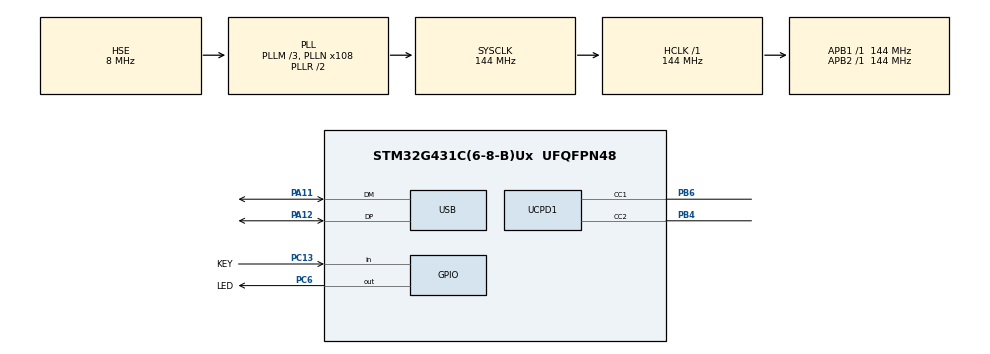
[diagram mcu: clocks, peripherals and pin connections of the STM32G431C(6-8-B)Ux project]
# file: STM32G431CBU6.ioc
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Dma.Request0=UCPD1_RX
Dma.Request1=UCPD1_TX
Dma.UCPD1_RX.0.Direction=DMA_PERIPH_TO_MEMORY
Dma.UCPD1_RX.0.EventEnable=DISABLE
Dma.UCPD1_RX.0.Instance=DMA1_Channel1
Dma.UCPD1_RX.0.MemDataAlignment=DMA_MDATAALIGN_BYTE
Dma.UCPD1_RX.0.MemInc=DMA_MINC_ENABLE
Dma.UCPD1_RX.0.Mode=DMA_NORMAL
Dma.UCPD1_RX.0.PeriphDataAlignment=DMA_PDATAALIGN_BYTE
Dma.UCPD1_RX.0.PeriphInc=DMA_PINC_DISABLE
Dma.UCPD1_RX.0.Polarity=HAL_DMAMUX_REQ_GEN_RISING
Dma.UCPD1_RX.0.Priority=DMA_PRIORITY_LOW
Dma.UCPD1_RX.0.RequestNumber=1
Dma.UCPD1_RX.0.SignalID=NONE
Dma.UCPD1_RX.0.SyncEnable=DISABLE
Dma.UCPD1_RX.0.SyncPolarity=HAL_DMAMUX_SYNC_NO_EVENT
Dma.UCPD1_RX.0.SyncRequestNumber=1
Dma.UCPD1_RX.0.SyncSignalID=NONE
Dma.UCPD1_TX.1.Direction=DMA_MEMORY_TO_PERIPH
Dma.UCPD1_TX.1.EventEnable=DISABLE
Dma.UCPD1_TX.1.Instance=DMA1_Channel2
Dma.UCPD1_TX.1.MemDataAlignment=DMA_MDATAALIGN_BYTE
Dma.UCPD1_TX.1.MemInc=DMA_MINC_ENABLE
Dma.UCPD1_TX.1.Mode=DMA_NORMAL
Dma.UCPD1_TX.1.PeriphDataAlignment=DMA_PDATAALIGN_BYTE
Dma.UCPD1_TX.1.PeriphInc=DMA_PINC_DISABLE
Dma.UCPD1_TX.1.Polarity=HAL_DMAMUX_REQ_GEN_RISING
Dma.UCPD1_TX.1.Priority=DMA_PRIORITY_LOW
Dma.UCPD1_TX.1.RequestNumber=1
Dma.UCPD1_TX.1.SignalID=NONE
Dma.UCPD1_TX.1.SyncEnable=DISABLE
Dma.UCPD1_TX.1.SyncPolarity=HAL_DMAMUX_SYNC_NO_EVENT
Dma.UCPD1_TX.1.SyncRequestNumber=1
Dma.UCPD1_TX.1.SyncSignalID=NONE
Mcu.Family=STM32G4
Mcu.Name=STM32G431C(6-8-B)Ux
Mcu.Package=UFQFPN48
NVIC.DMA1_Channel1_IRQn=true\:0\:0\:false\:false\:true\:false\:true\:true
NVIC.DMA1_Channel2_IRQn=true\:0\:0\:false\:false\:true\:false\:true\:true
NVIC.PriorityGroup=NVIC_PRIORITYGROUP_4
NVIC.UCPD1_IRQn=true\:0\:0\:false\:false\:true\:true\:false\:true
NVIC.USB_LP_IRQn=true\:0\:0\:false\:false\:true\:false\:true\:true
PA11.Mode=Device
PA11.Signal=USB_DM
PA12.Mode=Device
PA12.Signal=USB_DP
PA13.Mode=Serial_Wire
PA13.Signal=SYS_JTMS-SWDIO
PA14.Mode=Serial_Wire
PA14.Signal=SYS_JTCK-SWCLK
PB4.Mode=Sink_AllSignals
PB4.Signal=UCPD1_CC2
PB6.Mode=Sink_AllSignals
PB6.Signal=UCPD1_CC1
PC13.GPIO_Label=KEY
PC13.GPIO_PuPd=GPIO_PULLUP
PC13.Signal=GPIO_Input
PC6.GPIO_Label=LED
PC6.GPIO_PuPd=GPIO_NOPULL
PC6.Signal=GPIO_Output
PF0-OSC_IN.Mode=HSE-External-Oscillator
PF0-OSC_IN.Signal=RCC_OSC_IN
PF1-OSC_OUT.Mode=HSE-External-Oscillator
PF1-OSC_OUT.Signal=RCC_OSC_OUT
ProjectManager.HeapSize=0x800
ProjectManager.StackSize=0x1600
ProjectManager.TargetToolchain=EWARM V8.50
RCC.ADC12Freq_Value=144000000
RCC.AHBFreq_Value=144000000
RCC.APB1Freq_Value=144000000
RCC.APB1TimFreq_Value=144000000
RCC.APB2Freq_Value=144000000
RCC.APB2TimFreq_Value=144000000
RCC.CortexFreq_Value=144000000
RCC.EXTERNAL_CLOCK_VALUE=12288000
RCC.HCLKFreq_Value=144000000
RCC.HSE_VALUE=8000000
RCC.HSI48_VALUE=48000000
RCC.HSI_VALUE=16000000
RCC.PLLM=RCC_PLLM_DIV3
RCC.PLLN=108
RCC.PLLQ=RCC_PLLQ_DIV6
RCC.PLLSourceVirtual=RCC_PLLSOURCE_HSE
RCC.SYSCLKFreq_VALUE=144000000
RCC.SYSCLKSource=RCC_SYSCLKSOURCE_PLLCLK
RCC.USBFreq_Value=48000000
RCC.VCOOutputFreq_Value=288000000
USB_DEVICE.CLASS_NAME_FS=CDC
USB_DEVICE.VirtualMode=Cdc
USB_DEVICE.VirtualModeFS=Cdc_FS
VP_SYS_VS_DBSignals.Mode=DisableDeadBatterySignals
VP_USBPD_VS_PD3FULL.Mode=PD3_Full_Stack
VP_USBPD_VS_USBPD1.Mode=USBPD_P0
VP_USBPD_VS_usbpd_tim8.Mode=TIM8
VP_USB_DEVICE_VS_USB_DEVICE_CDC_FS.Mode=CDC_FS
board=custom

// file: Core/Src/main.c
/* USER CODE BEGIN Header */
/**
  ******************************************************************************
  * @file           : main.c
  * @brief          : Main program body
  ******************************************************************************
  * @attention
  *
  * Copyright (c) 2023 STMicroelectronics.
  * All rights reserved.
  *
  * This software is licensed under terms that can be found in the LICENSE file
  * in the root directory of this software component.
  * If no LICENSE file comes with this software, it is provided AS-IS.
  *
  ******************************************************************************
  */
/* USER CODE END Header */
#include "main.h"
#include "usbpd.h"
#include "usb_device.h"

/* USER CODE BEGIN PD */
#define BUF_LEN		(8192 / 32)
/* USER CODE END PD */

/* USER CODE BEGIN PV */
uint8_t buf[BUF_LEN];
/* USER CODE END PV */

void SystemClock_Config(void);
static void MX_GPIO_Init(void);
static void MX_DMA_Init(void);
static void MX_UCPD1_Init(void);

int main(void)
{

  /* MCU Configuration--------------------------------------------------------*/

  /* Reset of all peripherals, Initializes the Flash interface and the Systick. */
  HAL_Init();

  /* Configure the system clock */
  SystemClock_Config();

  /* Initialize all configured peripherals */
  MX_GPIO_Init();
  MX_DMA_Init();
  MX_USB_Device_Init();
  MX_UCPD1_Init();
  /* USER CODE BEGIN 2 */
	for(uint32_t i = 0; i < BUF_LEN; i++)
		buf[i] = 's';
	buf[BUF_LEN - 2] = '\r';
	buf[BUF_LEN - 1] = '\n';
	HAL_Delay(30000);
	LED_ON();
	uint32_t tickstart = HAL_GetTick();
  /* USER CODE END 2 */

  /* USBPD initialisation ---------------------------------*/
  //MX_USBPD_Init();

  /* Infinite loop */
  while (1)
  {
    //USBPD_DPM_Run();

    /* USER CODE BEGIN 3 */
	  CDC_Transmit_FS(buf, BUF_LEN); // отправляем в USB полученные данные
	  //HAL_Delay(1000);

	  if((HAL_GetTick() - tickstart) > 60000)
	  {
		  LED_OFF();
		  while(1);
	  }
  }
  /* USER CODE END 3 */
}

void SystemClock_Config(void)
{
  RCC_OscInitTypeDef RCC_OscInitStruct = {0};
  RCC_ClkInitTypeDef RCC_ClkInitStruct = {0};

  /** Configure the main internal regulator output voltage
  */
  HAL_PWREx_ControlVoltageScaling(PWR_REGULATOR_VOLTAGE_SCALE1);

  /** Initializes the RCC Oscillators according to the specified parameters
  * in the RCC_OscInitTypeDef structure.
  */
  RCC_OscInitStruct.OscillatorType = RCC_OSCILLATORTYPE_HSI|RCC_OSCILLATORTYPE_HSE;
  RCC_OscInitStruct.HSEState = RCC_HSE_ON;
  RCC_OscInitStruct.HSIState = RCC_HSI_ON;
  RCC_OscInitStruct.HSICalibrationValue = RCC_HSICALIBRATION_DEFAULT;
  RCC_OscInitStruct.PLL.PLLState = RCC_PLL_ON;
  RCC_OscInitStruct.PLL.PLLSource = RCC_PLLSOURCE_HSE;
  RCC_OscInitStruct.PLL.PLLM = RCC_PLLM_DIV3;
  RCC_OscInitStruct.PLL.PLLN = 108;
  RCC_OscInitStruct.PLL.PLLP = RCC_PLLP_DIV2;
  RCC_OscInitStruct.PLL.PLLQ = RCC_PLLQ_DIV6;
  RCC_OscInitStruct.PLL.PLLR = RCC_PLLR_DIV2;
  if (HAL_RCC_OscConfig(&RCC_OscInitStruct) != HAL_OK)
  {
    Error_Handler();
  }

  /** Initializes the CPU, AHB and APB buses clocks
  */
  RCC_ClkInitStruct.ClockType = RCC_CLOCKTYPE_HCLK|RCC_CLOCKTYPE_SYSCLK
                              |RCC_CLOCKTYPE_PCLK1|RCC_CLOCKTYPE_PCLK2;
  RCC_ClkInitStruct.SYSCLKSource = RCC_SYSCLKSOURCE_PLLCLK;
  RCC_ClkInitStruct.AHBCLKDivider = RCC_SYSCLK_DIV1;
  RCC_ClkInitStruct.APB1CLKDivider = RCC_HCLK_DIV1;
  RCC_ClkInitStruct.APB2CLKDivider = RCC_HCLK_DIV1;

  if (HAL_RCC_ClockConfig(&RCC_ClkInitStruct, FLASH_LATENCY_4) != HAL_OK)
  {
    Error_Handler();
  }
}

static void MX_UCPD1_Init(void)
{

  LL_GPIO_InitTypeDef GPIO_InitStruct = {0};

  /* Peripheral clock enable */
  LL_APB1_GRP2_EnableClock(LL_APB1_GRP2_PERIPH_UCPD1);

  LL_AHB2_GRP1_EnableClock(LL_AHB2_GRP1_PERIPH_GPIOB);
  /**UCPD1 GPIO Configuration
  PB4   ------> UCPD1_CC2
  PB6   ------> UCPD1_CC1
  */
  GPIO_InitStruct.Pin = LL_GPIO_PIN_4;
  GPIO_InitStruct.Mode = LL_GPIO_MODE_ANALOG;
  GPIO_InitStruct.Pull = LL_GPIO_PULL_NO;
  LL_GPIO_Init(GPIOB, &GPIO_InitStruct);

  GPIO_InitStruct.Pin = LL_GPIO_PIN_6;
  GPIO_InitStruct.Mode = LL_GPIO_MODE_ANALOG;
  GPIO_InitStruct.Pull = LL_GPIO_PULL_NO;
  LL_GPIO_Init(GPIOB, &GPIO_InitStruct);

  /* UCPD1 DMA Init */

  /* UCPD1_RX Init */
  LL_DMA_SetPeriphRequest(DMA1, LL_DMA_CHANNEL_1, LL_DMAMUX_REQ_UCPD1_RX);

  LL_DMA_SetDataTransferDirection(DMA1, LL_DMA_CHANNEL_1, LL_DMA_DIRECTION_PERIPH_TO_MEMORY);

  LL_DMA_SetChannelPriorityLevel(DMA1, LL_DMA_CHANNEL_1, LL_DMA_PRIORITY_LOW);

  LL_DMA_SetMode(DMA1, LL_DMA_CHANNEL_1, LL_DMA_MODE_NORMAL);

  LL_DMA_SetPeriphIncMode(DMA1, LL_DMA_CHANNEL_1, LL_DMA_PERIPH_NOINCREMENT);

  LL_DMA_SetMemoryIncMode(DMA1, LL_DMA_CHANNEL_1, LL_DMA_MEMORY_INCREMENT);

  LL_DMA_SetPeriphSize(DMA1, LL_DMA_CHANNEL_1, LL_DMA_PDATAALIGN_BYTE);

  LL_DMA_SetMemorySize(DMA1, LL_DMA_CHANNEL_1, LL_DMA_MDATAALIGN_BYTE);

  /* UCPD1_TX Init */
  LL_DMA_SetPeriphRequest(DMA1, LL_DMA_CHANNEL_2, LL_DMAMUX_REQ_UCPD1_TX);

  LL_DMA_SetDataTransferDirection(DMA1, LL_DMA_CHANNEL_2, LL_DMA_DIRECTION_MEMORY_TO_PERIPH);

  LL_DMA_SetChannelPriorityLevel(DMA1, LL_DMA_CHANNEL_2, LL_DMA_PRIORITY_LOW);

  LL_DMA_SetMode(DMA1, LL_DMA_CHANNEL_2, LL_DMA_MODE_NORMAL);

  LL_DMA_SetPeriphIncMode(DMA1, LL_DMA_CHANNEL_2, LL_DMA_PERIPH_NOINCREMENT);

  LL_DMA_SetMemoryIncMode(DMA1, LL_DMA_CHANNEL_2, LL_DMA_MEMORY_INCREMENT);

  LL_DMA_SetPeriphSize(DMA1, LL_DMA_CHANNEL_2, LL_DMA_PDATAALIGN_BYTE);

  LL_DMA_SetMemorySize(DMA1, LL_DMA_CHANNEL_2, LL_DMA_MDATAALIGN_BYTE);

  /* UCPD1 interrupt Init */
  NVIC_SetPriority(UCPD1_IRQn, NVIC_EncodePriority(NVIC_GetPriorityGrouping(),0, 0));
  NVIC_EnableIRQ(UCPD1_IRQn);

}

static void MX_DMA_Init(void)
{

  /* DMA controller clock enable */
  __HAL_RCC_DMAMUX1_CLK_ENABLE();
  __HAL_RCC_DMA1_CLK_ENABLE();

  /* DMA interrupt init */
  /* DMA1_Channel1_IRQn interrupt configuration */
  NVIC_SetPriority(DMA1_Channel1_IRQn, NVIC_EncodePriority(NVIC_GetPriorityGrouping(),0, 0));
  NVIC_EnableIRQ(DMA1_Channel1_IRQn);
  /* DMA1_Channel2_IRQn interrupt configuration */
  NVIC_SetPriority(DMA1_Channel2_IRQn, NVIC_EncodePriority(NVIC_GetPriorityGrouping(),0, 0));
  NVIC_EnableIRQ(DMA1_Channel2_IRQn);

}

static void MX_GPIO_Init(void)
{
  GPIO_InitTypeDef GPIO_InitStruct = {0};

  /* GPIO Ports Clock Enable */
  __HAL_RCC_GPIOC_CLK_ENABLE();
  __HAL_RCC_GPIOF_CLK_ENABLE();
  __HAL_RCC_GPIOA_CLK_ENABLE();
  __HAL_RCC_GPIOB_CLK_ENABLE();

  /*Configure GPIO pin Output Level */
  HAL_GPIO_WritePin(LED_GPIO_Port, LED_Pin, GPIO_PIN_RESET);

  /*Configure GPIO pin : KEY_Pin */
  GPIO_InitStruct.Pin = KEY_Pin;
  GPIO_InitStruct.Mode = GPIO_MODE_INPUT;
  GPIO_InitStruct.Pull = GPIO_PULLUP;
  HAL_GPIO_Init(KEY_GPIO_Port, &GPIO_InitStruct);

  /*Configure GPIO pin : LED_Pin */
  GPIO_InitStruct.Pin = LED_Pin;
  GPIO_InitStruct.Mode = GPIO_MODE_OUTPUT_PP;
  GPIO_InitStruct.Pull = GPIO_NOPULL;
  GPIO_InitStruct.Speed = GPIO_SPEED_FREQ_LOW;
  HAL_GPIO_Init(LED_GPIO_Port, &GPIO_InitStruct);

}

void Error_Handler(void)
{
  /* USER CODE BEGIN Error_Handler_Debug */
  /* User can add his own implementation to report the HAL error return state */
  LED_ON();
  LOG_HALERROR();
  __disable_irq();
  while (1)
  {
  }
  /* USER CODE END Error_Handler_Debug */
}
